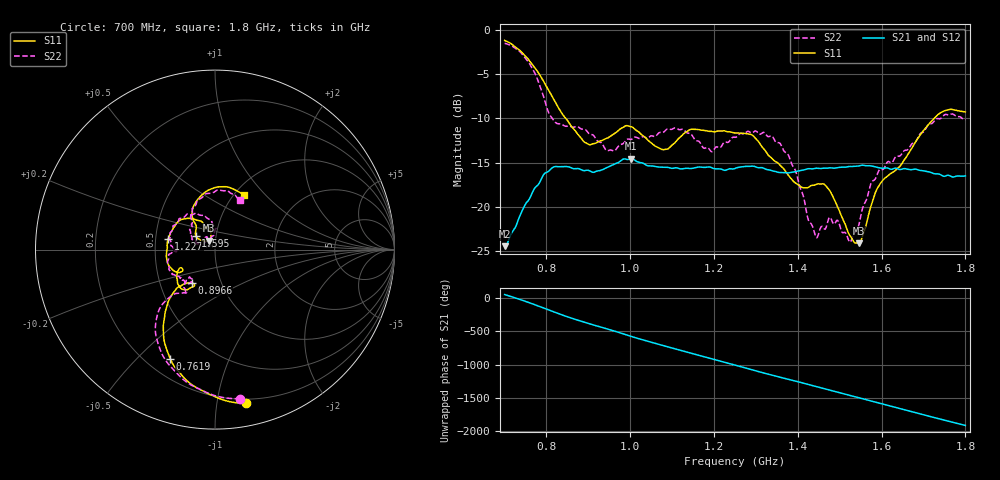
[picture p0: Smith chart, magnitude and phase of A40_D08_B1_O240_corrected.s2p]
! Created with skrf 1.9.0 (http://scikit-rf.org).
# Hz S RI R 50.0
!freq ReS11 ImS11 ReS21 ImS21 ReS12 ImS12 ReS22 ImS22
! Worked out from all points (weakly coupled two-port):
!   1601 points, 700 MHz to 1.8 GHz, reference 50 ohm
!   highest |S21| = -14.56 dB at 1.002 GHz (marker M1); lowest = -24.5 dB at 700.7 MHz (marker M2)
!   lowest |S11| = -24.2 dB at 1.546 GHz (marker M3), VSWR 1.13, Z = 46.3 + j4.7 ohm
!   |S11| at or under -10 dB: 846.1 MHz to 1.725 GHz (879.1 MHz wide, 68.4 % of centre)
!   |S22| runs from -24.0 to -1.5 dB; largest |S21 - S12| = 0.0036
!   S11 on the Smith chart (normalised r, x): 700 MHz: 0.17, -1.21; 761.9 MHz: 0.29, -0.63; 896.6 MHz: 0.72, -0.29; 1.227 GHz: 0.58, +0.08; 1.595 GHz: 0.80, +0.13; 1.8 GHz: 1.11, +0.76
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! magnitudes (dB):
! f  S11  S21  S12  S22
! 700 MHz  -1.2  -24.5  -24.3  -1.5
! 700.7 MHz  -1.2  -24.5  -24.2  -1.5
! 761.9 MHz  -3.6  -18.9  -18.8  -4.0
! 816.9 MHz  -7.8  -15.5  -15.6  -10.2
! 883.6 MHz  -12.3  -15.8  -15.7  -11.2
! 896.6 MHz  -12.8  -15.9  -16.0  -11.5
! 946.1 MHz  -12.2  -15.5  -15.5  -13.7
! 1.002 GHz  -10.9  -14.6  -14.7  -12.4
! 1.067 GHz  -13.3  -15.5  -15.5  -11.7
! 1.227 GHz  -11.4  -15.9  -15.8  -12.7
! 1.25 GHz  -11.6  -15.7  -15.6  -12.1
! 1.358 GHz  -15.3  -16.1  -16.1  -12.8
! 1.394 GHz  -17.3  -16.0  -16.0  -15.9
! 1.434 GHz  -17.6  -15.7  -15.7  -22.1
! 1.445 GHz  -17.5  -15.6  -15.7  -23.5
! 1.473 GHz  -18.0  -15.6  -15.6  -21.5
! 1.524 GHz  -23.3  -15.4  -15.4  -24.0
! 1.546 GHz  -24.2  -15.4  -15.4  -22.0
! 1.595 GHz  -17.5  -15.6  -15.6  -15.8
! 1.617 GHz  -16.4  -15.7  -15.6  -14.9
! 1.734 GHz  -9.6  -16.3  -16.3  -10.0
! 1.8 GHz  -9.3  -16.5  -16.5  -10.1
